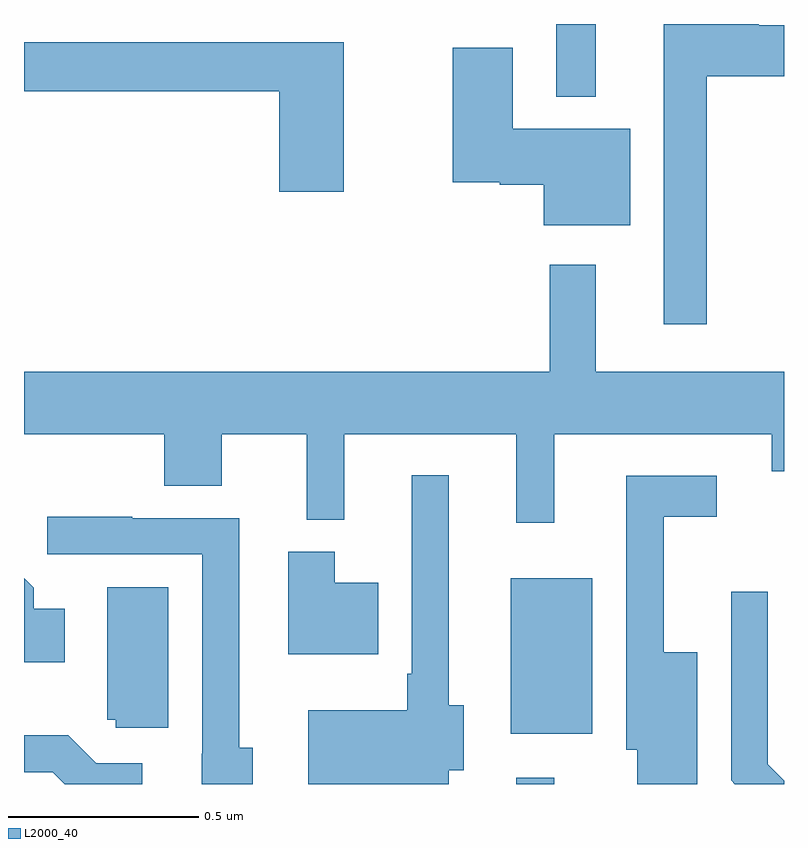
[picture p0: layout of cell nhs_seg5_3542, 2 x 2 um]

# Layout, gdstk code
import gdstk
lib = gdstk.Library(unit=1e-6, precision=1e-09)
def R(c, l, rs):  # rectangles x0, y0, x1, y1
    for r in rs: c.add(gdstk.rectangle(r[:2], r[2:], *l))
def P(c, l, *ps):  # polygons
    for p in ps: c.add(gdstk.Polygon(p, *l))
L2000_40 = (2000, 40)

nhs_seg5_3542 = lib.new_cell('nhs_seg5_3542')
R(nhs_seg5_3542, L2000_40, [(159.296,895.799,159.396,895.816), (159.281,895.931,159.496,896.341), (159.401,897.608,159.505,897.799)])
P(nhs_seg5_3542, L2000_40, [(159.797,897.662),(160,897.662),(160,897.796),(159.934,897.796),(159.934,897.799),(159.683,897.799),(159.683,897.009),(159.797,897.009)],
  [(158.842,897.751),(158,897.751),(158,897.622),(158.672,897.622),(158.672,897.357),(158.842,897.357)],
  [(159.595,897.523),(159.286,897.523),(159.286,897.736),(159.128,897.736),(159.128,897.383),(159.252,897.383),(159.252,897.376),(159.368,897.376),(159.368,897.269),(159.595,897.269)],
  [(159.395,896.72),(159.968,896.72),(159.968,896.622),(160,896.622),(160,896.884),(159.505,896.884),(159.505,897.166),(159.384,897.166),(159.384,896.884),(158,896.884),(158,896.72),(158.369,896.72),(158.369,896.584),(158.521,896.584),(158.521,896.72),(158.744,896.72),(158.744,896.495),(158.843,896.495),(158.843,896.72),(159.296,896.72),(159.296,896.487),(159.395,896.487)],
  [(159.118,895.835),(159.157,895.835),(159.157,896.006),(159.118,896.006),(159.118,896.611),(159.021,896.611),(159.021,896.089),(159.009,896.089),(159.009,895.993),(158.748,895.993),(158.748,895.799),(159.118,895.799)],
  [(159.772,896.146),(159.683,896.146),(159.683,896.502),(159.823,896.502),(159.823,896.61),(159.585,896.61),(159.585,895.889),(159.614,895.889),(159.614,895.799),(159.772,895.799)],
  [(158.602,895.895),(158.566,895.895),(158.566,896.499),(158.285,896.499),(158.285,896.502),(158.061,896.502),(158.061,896.403),(158.469,896.403),(158.469,895.878),(158.468,895.878),(158.468,895.799),(158.602,895.799)],
  [(158.932,896.329),(158.818,896.329),(158.818,896.41),(158.696,896.41),(158.696,896.141),(158.932,896.141)],
  [(158.107,896.26),(158.026,896.26),(158.026,896.315),(158,896.341),(158,896.12),(158.107,896.12)],
  [(158.38,896.317),(158.219,896.317),(158.219,895.968),(158.241,895.968),(158.241,895.947),(158.38,895.947)],
  [(160,895.808),(159.957,895.851),(159.957,896.305),(159.861,896.305),(159.861,895.809),(159.871,895.799),(160,895.799)],
  [(158.311,895.854),(158.19,895.854),(158.117,895.927),(158,895.927),(158,895.83),(158.076,895.83),(158.107,895.799),(158.311,895.799)])

lib.write_gds('nhs_seg5_3542.gds')
